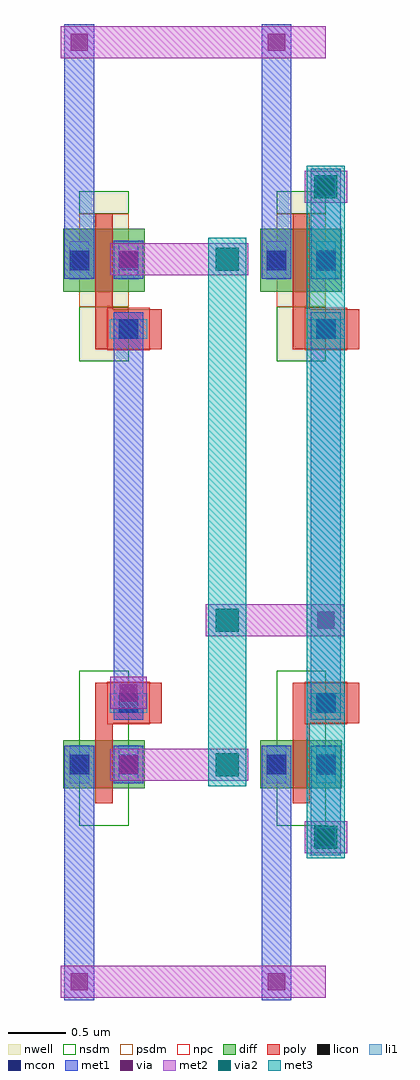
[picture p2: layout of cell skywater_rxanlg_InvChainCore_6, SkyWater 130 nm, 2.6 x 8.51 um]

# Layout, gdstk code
import gdstk
lib = gdstk.Library(unit=1e-6, precision=1e-09)
def R(c, l, rs):  # rectangles x0, y0, x1, y1
    for r in rs: c.add(gdstk.rectangle(r[:2], r[2:], *l))
def P(c, l, *ps):  # polygons
    for p in ps: c.add(gdstk.Polygon(p, *l))
nwell = (64, 20)
diff = (65, 20)
poly = (66, 20)
licon = (66, 44)
li1 = (67, 20)
mcon = (67, 44)
met1 = (68, 20)
via = (68, 44)
met2 = (69, 20)
via2 = (69, 44)
met3 = (70, 20)
nsdm = (93, 44)
psdm = (94, 20)
npc = (95, 20)

skywater_rxanlg_mosconn_ = lib.new_cell('skywater_rxanlg_MOSConn_7')
R(skywater_rxanlg_mosconn_, diff, [(-0.14,0.605,0.57,1.025)])
R(skywater_rxanlg_mosconn_, poly, [(0.265,0.105,0.595,0.455)])
P(skywater_rxanlg_mosconn_, poly, [(0.14,1.155),(0.14,0.105),(0.72,0.105),(0.72,0.455),(0.29,0.455),(0.29,1.155)])
R(skywater_rxanlg_mosconn_, licon, [(0.345,0.195,0.515,0.365), (-0.085,0.73,0.085,0.9), (0.345,0.73,0.515,0.9)])
R(skywater_rxanlg_mosconn_, li1, [(0.265,0.195,0.595,0.365), (0.265,0.195,0.595,0.365), (0.305,0.195,0.555,0.365), (-0.085,0.65,0.085,0.98), (0.345,0.65,0.515,0.98), (-0.085,0.69,0.085,0.94), (0.345,0.69,0.515,0.94)])
R(skywater_rxanlg_mosconn_, mcon, [(0.345,0.195,0.515,0.365), (-0.085,0.73,0.085,0.9), (0.345,0.73,0.515,0.9)])
R(skywater_rxanlg_mosconn_, met1, [(0.3,0.105,0.56,0.425), (0.3,0.135,0.56,0.425), (-0.13,0.655,0.13,0.975), (0.3,0.655,0.56,0.975), (-0.13,0.67,0.13,0.96), (0.3,0.67,0.56,0.96)])
R(skywater_rxanlg_mosconn_, nsdm, [(0,0,0.43,1.35)])
R(skywater_rxanlg_mosconn_, npc, [(0.245,0.095,0.615,0.465)])

c_skywater_rxanlg_mosconn_ = lib.new_cell('skywater_rxanlg_MOSConn_4')
R(c_skywater_rxanlg_mosconn_, nwell, [(0,0,0.43,1.48)])
R(c_skywater_rxanlg_mosconn_, diff, [(-0.14,0.605,0.57,1.155)])
R(c_skywater_rxanlg_mosconn_, poly, [(0.265,0.105,0.595,0.455)])
P(c_skywater_rxanlg_mosconn_, poly, [(0.14,1.285),(0.14,0.105),(0.72,0.105),(0.72,0.455),(0.29,0.455),(0.29,1.285)])
R(c_skywater_rxanlg_mosconn_, licon, [(0.345,0.195,0.515,0.365), (-0.085,0.795,0.085,0.965), (0.345,0.795,0.515,0.965)])
R(c_skywater_rxanlg_mosconn_, li1, [(0.265,0.195,0.595,0.365), (0.265,0.195,0.595,0.365), (0.305,0.195,0.555,0.365), (-0.085,0.715,0.085,1.045), (0.345,0.715,0.515,1.045), (-0.085,0.755,0.085,1.005), (0.345,0.755,0.515,1.005)])
R(c_skywater_rxanlg_mosconn_, mcon, [(0.345,0.195,0.515,0.365), (-0.085,0.795,0.085,0.965), (0.345,0.795,0.515,0.965)])
R(c_skywater_rxanlg_mosconn_, met1, [(0.3,0.105,0.56,0.425), (0.3,0.135,0.56,0.425), (-0.13,0.72,0.13,1.04), (0.3,0.72,0.56,1.04), (-0.13,0.735,0.13,1.025), (0.3,0.735,0.56,1.025)])
R(c_skywater_rxanlg_mosconn_, nsdm, [(0,0,0.43,0.475), (0,1.285,0.43,1.48)])
R(c_skywater_rxanlg_mosconn_, psdm, [(0,0.475,0.43,1.285)])
R(c_skywater_rxanlg_mosconn_, npc, [(0.245,0.095,0.615,0.465)])

skywater_rxanlg_invcore_ = lib.new_cell('skywater_rxanlg_InvCore_14')
R(skywater_rxanlg_invcore_, met1, [(-0.13,-0.16,0.13,2.055), (-0.13,-0.16,0.13,0.16), (0.3,1.73,0.56,2.055), (0.3,1.73,0.56,2.05), (0.3,2.285,0.56,5.835), (0.3,2.36,0.56,2.68), (-0.13,6.13,0.13,8.35), (0.3,6.13,0.56,6.46), (0.3,6.14,0.56,6.46), (-0.13,8.03,0.13,8.35)])
R(skywater_rxanlg_invcore_, via, [(-0.075,-0.075,0.075,0.075), (0.355,1.815,0.505,1.965), (0.355,2.445,0.505,2.595), (0.355,6.225,0.505,6.375), (-0.075,8.115,0.075,8.265)])
R(skywater_rxanlg_invcore_, met2, [(-0.16,-0.14,0.43,0.14), (-0.16,-0.14,0.16,0.14), (0.27,1.75,1.475,2.03), (0.27,1.75,0.59,2.03), (1.105,1.75,1.475,2.03), (0.27,2.38,0.59,2.66), (0.27,2.38,0.59,2.66), (0.27,6.16,1.475,6.44), (0.27,6.16,0.59,6.44), (1.105,6.16,1.475,6.44), (-0.16,8.05,0.43,8.33), (-0.16,8.05,0.16,8.33)])
R(skywater_rxanlg_invcore_, via2, [(1.19,1.79,1.39,1.99), (1.19,6.2,1.39,6.4)])
R(skywater_rxanlg_invcore_, met3, [(1.125,1.705,1.455,6.485), (1.125,1.705,1.455,2.075), (1.125,6.115,1.455,6.485)])
skywater_rxanlg_invcore_.add(gdstk.Reference(skywater_rxanlg_mosconn_, (0,2.71), x_reflection=True))
skywater_rxanlg_invcore_.add(gdstk.Reference(c_skywater_rxanlg_mosconn_, (0,5.41)))

c_skywater_rxanlg_invcore_ = lib.new_cell('skywater_rxanlg_InvCore_13')
R(c_skywater_rxanlg_invcore_, met1, [(-0.13,-0.16,0.13,2.055), (-0.13,-0.16,0.13,0.16), (0.3,1.1,0.56,2.055), (0.3,1.1,0.56,1.42), (0.3,2.285,0.56,5.835), (0.3,2.99,0.56,3.31), (-0.13,6.13,0.13,8.35), (0.3,6.13,0.56,7.09), (0.3,6.77,0.56,7.09), (-0.13,8.03,0.13,8.35)])
R(c_skywater_rxanlg_invcore_, via, [(-0.075,-0.075,0.075,0.075), (0.355,1.185,0.505,1.335), (0.355,3.075,0.505,3.225), (0.355,6.855,0.505,7.005), (-0.075,8.115,0.075,8.265)])
R(c_skywater_rxanlg_invcore_, met2, [(-0.16,-0.14,0.43,0.14), (-0.16,-0.14,0.16,0.14), (0.245,1.12,0.615,1.4), (0.245,1.12,0.615,1.4), (0.27,1.12,0.59,1.4), (0.27,3.01,0.59,3.29), (0.27,3.01,0.59,3.29), (0.245,6.79,0.615,7.07), (0.245,6.79,0.615,7.07), (0.27,6.79,0.59,7.07), (-0.16,8.05,0.43,8.33), (-0.16,8.05,0.16,8.33)])
R(c_skywater_rxanlg_invcore_, via2, [(0.33,1.16,0.53,1.36), (0.33,6.83,0.53,7.03)])
R(c_skywater_rxanlg_invcore_, met3, [(0.265,1.075,0.595,7.115), (0.265,1.075,0.595,1.445), (0.265,6.745,0.595,7.115)])
c_skywater_rxanlg_invcore_.add(gdstk.Reference(skywater_rxanlg_mosconn_, (0,2.71), x_reflection=True))
c_skywater_rxanlg_invcore_.add(gdstk.Reference(c_skywater_rxanlg_mosconn_, (0,5.41)))

skywater_rxanlg_invchain = lib.new_cell('skywater_rxanlg_InvChainCore_6')
R(skywater_rxanlg_invchain, met2, [(-0.16,-0.14,2.15,0.14), (1.105,3.01,2.31,3.29), (1.105,3.01,1.475,3.29), (-0.16,8.05,2.15,8.33)])
R(skywater_rxanlg_invchain, via2, [(1.19,3.05,1.39,3.25)])
R(skywater_rxanlg_invchain, met3, [(1.125,1.705,1.455,6.485), (1.125,2.965,1.455,3.335)])
skywater_rxanlg_invchain.add(gdstk.Reference(skywater_rxanlg_invcore_, (0,0)))
skywater_rxanlg_invchain.add(gdstk.Reference(c_skywater_rxanlg_invcore_, (1.72,0)))

lib.write_gds('skywater_rxanlg_InvChainCore_6.gds')
